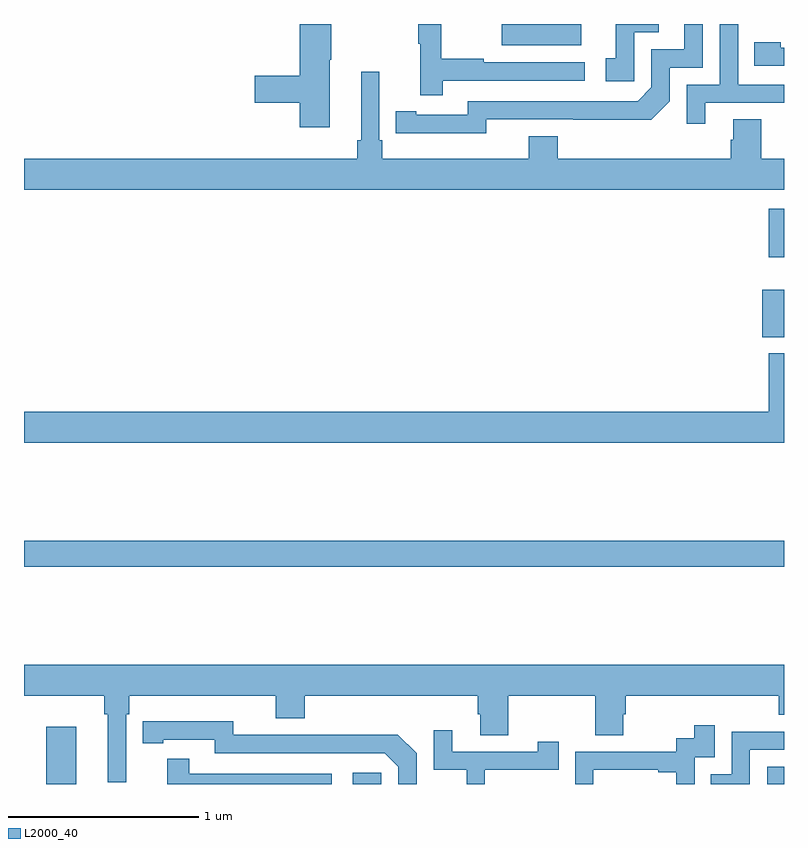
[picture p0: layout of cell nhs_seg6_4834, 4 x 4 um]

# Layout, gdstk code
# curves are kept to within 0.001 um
import gdstk
lib = gdstk.Library(unit=1e-6, precision=1e-09)
def R(c, l, rs):  # rectangles x0, y0, x1, y1
    for r in rs: c.add(gdstk.rectangle(r[:2], r[2:], *l))
def P(c, l, *ps):  # polygons
    for p in ps: c.add(gdstk.Polygon(p, *l))
L2000_40 = (2000, 40)

nhs_seg6_4834 = lib.new_cell('nhs_seg6_4834')
R(nhs_seg6_4834, L2000_40, [(397.118,985.5,397.276,985.801), (398.73,985.5,398.88,985.558), (400.911,985.5,401,985.59), (397,986.644,401,986.78), (400.886,987.851,401,988.102), (400.92,988.272,401,988.528), (399.515,989.387,399.934,989.5)])
P(nhs_seg6_4834, L2000_40, [(400.585,989.085),(401,989.085),(401,989.181),(400.758,989.181),(400.758,989.5),(400.662,989.5),(400.662,989.181),(400.488,989.181),(400.488,988.974),(400.585,988.974)],
  [(399.432,988.998),(400.3,988.997),(400.398,989.094),(400.398,989.271),(400.572,989.271),(400.572,989.5),(400.475,989.5),(400.475,989.367),(400.302,989.367),(400.302,989.166),(400.23,989.094),(399.336,989.094),(399.336,989.022),(399.064,989.022),(399.064,989.042),(398.956,989.042),(398.956,988.926),(399.432,988.925)],
  [(400.212,989.457),(400.341,989.457),(400.341,989.5),(400.115,989.5),(400.115,989.319),(400.062,989.319),(400.062,989.199),(400.212,989.199)],
  [(399.203,989.202),(399.952,989.202),(399.952,989.298),(399.419,989.298),(399.419,989.318),(399.196,989.318),(399.196,989.5),(399.075,989.5),(399.075,989.395),(399.086,989.395),(399.086,989.124),(399.203,989.124)],
  [(398.608,989.311),(398.616,989.311),(398.616,989.5),(398.45,989.5),(398.45,989.228),(398.214,989.228),(398.214,989.086),(398.45,989.086),(398.45,988.956),(398.608,988.956)],
  [(401,989.376),(400.983,989.376),(400.983,989.403),(400.843,989.403),(400.843,989.28),(401,989.28)],
  [(398.774,989.248),(398.774,988.888),(398.755,988.888),(398.755,988.792),(397,988.792),(397,988.628),(401,988.628),(401,988.792),(400.881,988.792),(400.881,989),(400.733,989),(400.733,988.89),(400.721,988.89),(400.721,988.792),(399.809,988.792),(399.809,988.909),(399.656,988.909),(399.656,988.792),(398.885,988.792),(398.885,988.888),(398.871,988.888),(398.871,989.248)],
  [(401,987.766),(400.921,987.766),(400.921,987.46),(397,987.46),(397,987.296),(401,987.296)],
  [(397.539,985.868),(397.553,985.868),(397.553,985.964),(398.324,985.964),(398.324,985.847),(398.477,985.847),(398.477,985.964),(399.389,985.964),(399.389,985.866),(399.401,985.866),(399.401,985.756),(399.549,985.756),(399.549,985.964),(400.006,985.964),(400.006,985.756),(400.153,985.756),(400.153,985.866),(400.166,985.866),(400.166,985.964),(400.973,985.964),(400.973,985.865),(401,985.865),(401,986.128),(397,986.128),(397,985.964),(397.423,985.964),(397.423,985.868),(397.442,985.868),(397.442,985.509),(397.539,985.509)],
  [(399.066,985.662),(398.968,985.76),(398.56,985.76),(398.56,985.758),(398.1,985.758),(398.1,985.831),(397.624,985.83),(397.624,985.714),(397.732,985.714),(397.732,985.734),(398.004,985.734),(398.004,985.662),(398.898,985.662),(398.97,985.59),(398.97,985.5),(399.066,985.5)],
  [(399.996,985.575),(400.337,985.575),(400.337,985.563),(400.433,985.563),(400.433,985.5),(400.53,985.5),(400.53,985.641),(400.635,985.641),(400.635,985.81),(400.527,985.81),(400.527,985.74),(400.434,985.74),(400.434,985.671),(399.9,985.671),(399.9,985.5),(399.996,985.5)],
  [(399.426,985.575),(399.815,985.575),(399.815,985.723),(399.704,985.723),(399.704,985.671),(399.253,985.671),(399.253,985.783),(399.156,985.783),(399.156,985.575),(399.33,985.575),(399.33,985.5),(399.426,985.5)],
  [(400.821,985.68),(401,985.68),(401,985.776),(400.725,985.776),(400.725,985.551),(400.615,985.551),(400.615,985.5),(400.821,985.5)],
  [(398.62,985.554),(397.871,985.554),(397.871,985.633),(397.754,985.633),(397.754,985.5),(398.62,985.5)])

lib.write_gds('nhs_seg6_4834.gds')
